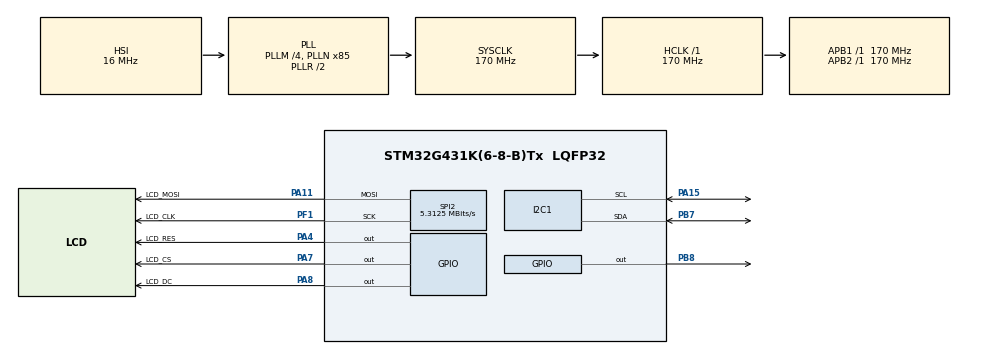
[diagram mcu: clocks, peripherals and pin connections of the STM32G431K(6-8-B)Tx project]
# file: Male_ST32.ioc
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I2C1.Timing=0x40B285C2
Mcu.Family=STM32G4
Mcu.Name=STM32G431K(6-8-B)Tx
Mcu.Package=LQFP32
NUCLEO-G431KB.Bsp_Common_DEMO=true
NUCLEO-G431KB.LD2=true
NUCLEO-G431KB.VCP=true
NVIC.PriorityGroup=NVIC_PRIORITYGROUP_4
PA11.GPIO_Label=LCD_MOSI
PA11.Mode=TX_Only_Simplex_Unidirect_Master
PA11.Signal=SPI2_MOSI
PA13.GPIO_Label=T_SWDIO
PA13.Mode=Serial_Wire
PA13.Signal=SYS_JTMS-SWDIO
PA14.GPIO_Label=T_SWCLK
PA14.Mode=Serial_Wire
PA14.Signal=SYS_JTCK-SWCLK
PA15.GPIO_Pu=GPIO_PULLUP
PA15.GPIO_Speed=GPIO_SPEED_FREQ_VERY_HIGH
PA15.Mode=I2C
PA15.Signal=I2C1_SCL
PA2.Signal=USART2_TX
PA3.Signal=USART2_RX
PA4.GPIO_Label=LCD_RES
PA4.GPIO_ModeDefaultOutputPP=GPIO_MODE_OUTPUT_PP
PA4.GPIO_PuPd=GPIO_PULLUP
PA4.Signal=GPIO_Output
PA7.GPIO_Label=LCD_CS
PA7.GPIO_PuPd=GPIO_PULLUP
PA7.Signal=GPIO_Output
PA8.GPIO_Label=LCD_DC
PA8.GPIO_PuPd=GPIO_PULLUP
PA8.Signal=GPIO_Output
PB3.GPIO_Label=T_SWO
PB3.Signal=SYS_JTDO-SWO
PB7.GPIO_FM7=SYSCFG_FASTMODEPLUS_PB7
PB7.GPIO_Pu=GPIO_PULLUP
PB7.GPIO_Speed=GPIO_SPEED_FREQ_VERY_HIGH
PB7.Mode=I2C
PB7.Signal=I2C1_SDA
PB8-BOOT0.Signal=GPIO_Output
PF1-OSC_OUT.GPIO_Label=LCD_CLK
PF1-OSC_OUT.Mode=TX_Only_Simplex_Unidirect_Master
PF1-OSC_OUT.Signal=SPI2_SCK
ProjectManager.HeapSize=0x200
ProjectManager.StackSize=0x400
ProjectManager.TargetToolchain=STM32CubeIDE
RCC.ADC12Freq_Value=170000000
RCC.AHBFreq_Value=170000000
RCC.APB1Freq_Value=170000000
RCC.APB1TimFreq_Value=170000000
RCC.APB2Freq_Value=170000000
RCC.APB2TimFreq_Value=170000000
RCC.CortexFreq_Value=170000000
RCC.EXTERNAL_CLOCK_VALUE=12288000
RCC.HCLKFreq_Value=170000000
RCC.HSE_VALUE=8000000
RCC.HSI48_VALUE=48000000
RCC.HSI_VALUE=16000000
RCC.LSE_VALUE=32768
RCC.PLLM=RCC_PLLM_DIV4
RCC.PLLN=85
RCC.SYSCLKFreq_VALUE=170000000
RCC.SYSCLKSource=RCC_SYSCLKSOURCE_PLLCLK
RCC.USBFreq_Value=170000000
RCC.VCOOutputFreq_Value=340000000
SPI2.BaudRatePrescaler=SPI_BAUDRATEPRESCALER_32
SPI2.CLKPhase=SPI_PHASE_2EDGE
SPI2.CLKPolarity=SPI_POLARITY_HIGH
SPI2.CalculateBaudRate=5.3125 MBits/s
SPI2.DataSize=SPI_DATASIZE_8BIT
SPI2.Direction=SPI_DIRECTION_2LINES
SPI2.Mode=SPI_MODE_MASTER
SPI2.VirtualType=VM_MASTER
VP_NUCLEO-G431KB_VS_BSP_COMMON.Mode=COMMON
VP_SYS_VS_DBSignals.Mode=DisableDeadBatterySignals
board=NUCLEO-G431KB

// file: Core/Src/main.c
/* USER CODE BEGIN Header */
/**
  ******************************************************************************
  * @file           : main.c
  * @brief          : Main program body
  ******************************************************************************
  * @attention
  *
  * Copyright (c) 2026 STMicroelectronics.
  * All rights reserved.
  *
  * This software is licensed under terms that can be found in the LICENSE file
  * in the root directory of this software component.
  * If no LICENSE file comes with this software, it is provided AS-IS.
  *
  ******************************************************************************
  */
/* USER CODE END Header */
#include "main.h"
#include "i2c.h"
#include "spi.h"
#include "gpio.h"

/* USER CODE BEGIN Includes */
#include "BME280_STM32.h"
#include "GC9A01A.h"
#include <stdlib.h>
#include <stdio.h>
#include "LCD_Paint.h"
#include "Config.h"
/* USER CODE END Includes */

COM_InitTypeDef BspCOMInit;

void SystemClock_Config(void);

int main(void)
{

  /* MCU Configuration--------------------------------------------------------*/

  /* Reset of all peripherals, Initializes the Flash interface and the Systick. */
  HAL_Init();

  /* Configure the system clock */
  SystemClock_Config();

  /* Initialize all configured peripherals */
  MX_GPIO_Init();
  MX_I2C1_Init();
  MX_SPI2_Init();

  /* Initialize leds */
  BSP_LED_Init(LED_GREEN);

  /* Initialize COM1 port (115200, 8 bits (7-bit data + 1 stop bit), no parity */
  BspCOMInit.BaudRate   = 115200;
  BspCOMInit.WordLength = COM_WORDLENGTH_8B;
  BspCOMInit.StopBits   = COM_STOPBITS_1;
  BspCOMInit.Parity     = COM_PARITY_NONE;
  BspCOMInit.HwFlowCtl  = COM_HWCONTROL_NONE;
  if (BSP_COM_Init(COM1, &BspCOMInit) != BSP_ERROR_NONE)
  {
    Error_Handler();
  }

  /* USER CODE BEGIN BSP */

  /* -- Sample board code to send message over COM1 port ---- */
  printf("Welcome to STM32 world !\n\r");

  /* -- Sample board code to switch on leds ---- */
  BSP_LED_On(LED_GREEN);
  int  bmeStatus = BME280_Config(OSRS_2, OSRS_16, OSRS_1, MODE_NORMAL, T_SB_0p5, IIR_16);
  printf("BME280_Config = %d\r\n", bmeStatus);

  GC9A01A lcd = {
      .hspi     = &hspi2,
      .width    = 240,
      .height   = 240,
      .cs_pin   = GPIO_PIN_7,   .cs_gpio  = GPIOA,
      .dc_pin   = GPIO_PIN_8,   .dc_gpio  = GPIOA,
      .bl_pin   = GPIO_PIN_4,   .bl_gpio  = GPIOA,
      .rst_pin  = GPIO_PIN_4,  .rst_gpio = GPIOA,
  };

  GC9A01A_Init(&lcd);
  LCD_Fill(&lcd, LCD_BLUE);

  /* USER CODE END BSP */

  /* Infinite loop */
  /* USER CODE BEGIN WHILE */
  float temperature = 0.0f;
  float pressure = 0.0f;
  float humidity = 0.0f;

  while (1)
  {

/* -- Sample board code to toggle leds ---- */
       BSP_LED_Toggle(LED_GREEN);
       HAL_Delay(100);
       BME280_Measure(&temperature, &pressure, &humidity);
       printf("T=%d.%02d C  P=%ld Pa  ID=0x%02X\r\n", (int)temperature, abs((int)(temperature * 100) % 100),   (long)pressure, chipID);
    /* USER CODE END WHILE */

  }
}

void SystemClock_Config(void)
{
  RCC_OscInitTypeDef RCC_OscInitStruct = {0};
  RCC_ClkInitTypeDef RCC_ClkInitStruct = {0};

  /** Configure the main internal regulator output voltage
  */
  HAL_PWREx_ControlVoltageScaling(PWR_REGULATOR_VOLTAGE_SCALE1_BOOST);

  /** Initializes the RCC Oscillators according to the specified parameters
  * in the RCC_OscInitTypeDef structure.
  */
  RCC_OscInitStruct.OscillatorType = RCC_OSCILLATORTYPE_HSI;
  RCC_OscInitStruct.HSIState = RCC_HSI_ON;
  RCC_OscInitStruct.HSICalibrationValue = RCC_HSICALIBRATION_DEFAULT;
  RCC_OscInitStruct.PLL.PLLState = RCC_PLL_ON;
  RCC_OscInitStruct.PLL.PLLSource = RCC_PLLSOURCE_HSI;
  RCC_OscInitStruct.PLL.PLLM = RCC_PLLM_DIV4;
  RCC_OscInitStruct.PLL.PLLN = 85;
  RCC_OscInitStruct.PLL.PLLP = RCC_PLLP_DIV2;
  RCC_OscInitStruct.PLL.PLLQ = RCC_PLLQ_DIV2;
  RCC_OscInitStruct.PLL.PLLR = RCC_PLLR_DIV2;
  if (HAL_RCC_OscConfig(&RCC_OscInitStruct) != HAL_OK)
  {
    Error_Handler();
  }

  /** Initializes the CPU, AHB and APB buses clocks
  */
  RCC_ClkInitStruct.ClockType = RCC_CLOCKTYPE_HCLK|RCC_CLOCKTYPE_SYSCLK
                              |RCC_CLOCKTYPE_PCLK1|RCC_CLOCKTYPE_PCLK2;
  RCC_ClkInitStruct.SYSCLKSource = RCC_SYSCLKSOURCE_PLLCLK;
  RCC_ClkInitStruct.AHBCLKDivider = RCC_SYSCLK_DIV1;
  RCC_ClkInitStruct.APB1CLKDivider = RCC_HCLK_DIV1;
  RCC_ClkInitStruct.APB2CLKDivider = RCC_HCLK_DIV1;

  if (HAL_RCC_ClockConfig(&RCC_ClkInitStruct, FLASH_LATENCY_4) != HAL_OK)
  {
    Error_Handler();
  }
}

/* USER CODE BEGIN Header */
/**
  ******************************************************************************
  * @file           : main.c
  * @brief          : Main program body
  ******************************************************************************
  * @attention
  *
  * Copyright (c) 2026 STMicroelectronics.
  * All rights reserved.
  *
  * This software is licensed under terms that can be found in the LICENSE file
  * in the root directory of this software component.
  * If no LICENSE file comes with this software, it is provided AS-IS.
  *
  ******************************************************************************
  */
/* USER CODE END Header */

void Error_Handler(void)
{
  __disable_irq();
  while (1)
  {
  }
}
